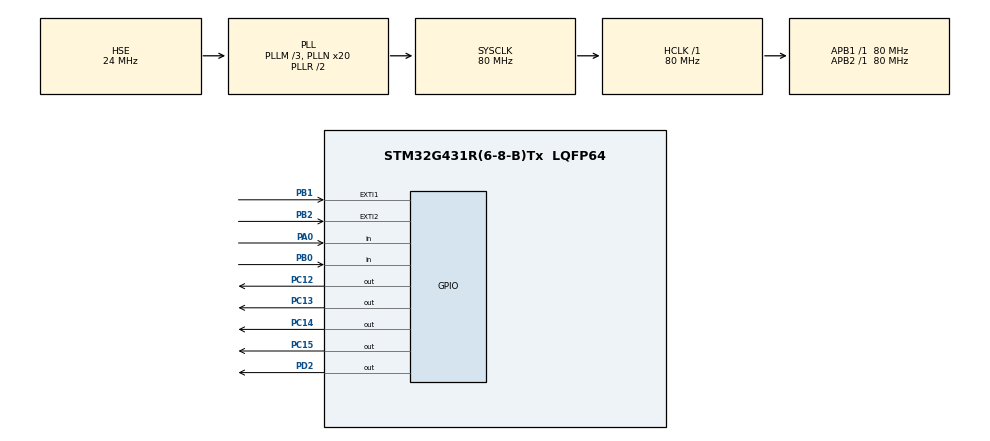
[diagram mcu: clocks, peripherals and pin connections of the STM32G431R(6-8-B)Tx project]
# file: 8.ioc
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Mcu.Family=STM32G4
Mcu.Name=STM32G431R(6-8-B)Tx
Mcu.Package=LQFP64
NVIC.EXTI1_IRQn=true\:0\:0\:false\:false\:true\:true\:true
NVIC.EXTI2_IRQn=true\:0\:0\:false\:false\:true\:true\:true
NVIC.PriorityGroup=NVIC_PRIORITYGROUP_4
PA0.GPIO_PuPd=GPIO_PULLUP
PA0.Signal=GPIO_Input
PA13.Mode=Serial_Wire
PA13.Signal=SYS_JTMS-SWDIO
PA14.Mode=Serial_Wire
PA14.Signal=SYS_JTCK-SWCLK
PB0.GPIO_PuPd=GPIO_PULLUP
PB0.Signal=GPIO_Input
PB1.GPIO_ModeDefaultEXTI=GPIO_MODE_IT_FALLING
PB1.GPIO_PuPd=GPIO_PULLUP
PB1.Signal=GPXTI1
PB2.GPIO_ModeDefaultEXTI=GPIO_MODE_IT_RISING
PB2.GPIO_PuPd=GPIO_PULLUP
PB2.Signal=GPXTI2
PC12.PinState=GPIO_PIN_SET
PC12.Signal=GPIO_Output
PC13.PinState=GPIO_PIN_SET
PC13.Signal=GPIO_Output
PC14-OSC32_IN.PinState=GPIO_PIN_SET
PC14-OSC32_IN.Signal=GPIO_Output
PC15-OSC32_OUT.PinState=GPIO_PIN_SET
PC15-OSC32_OUT.Signal=GPIO_Output
PD2.Signal=GPIO_Output
PF0-OSC_IN.Mode=HSE-External-Oscillator
PF0-OSC_IN.Signal=RCC_OSC_IN
PF1-OSC_OUT.Mode=HSE-External-Oscillator
PF1-OSC_OUT.Signal=RCC_OSC_OUT
ProjectManager.HeapSize=0x200
ProjectManager.StackSize=0x400
ProjectManager.TargetToolchain=MDK-ARM V5
RCC.ADC12Freq_Value=80000000
RCC.AHBFreq_Value=80000000
RCC.APB1Freq_Value=80000000
RCC.APB1TimFreq_Value=80000000
RCC.APB2Freq_Value=80000000
RCC.APB2TimFreq_Value=80000000
RCC.CortexFreq_Value=80000000
RCC.EXTERNAL_CLOCK_VALUE=12288000
RCC.HCLKFreq_Value=80000000
RCC.HSE_VALUE=24000000
RCC.HSI48_VALUE=48000000
RCC.HSI_VALUE=16000000
RCC.LSE_VALUE=32768
RCC.PLLM=RCC_PLLM_DIV3
RCC.PLLN=20
RCC.PLLSourceVirtual=RCC_PLLSOURCE_HSE
RCC.SYSCLKFreq_VALUE=80000000
RCC.SYSCLKSource=RCC_SYSCLKSOURCE_PLLCLK
RCC.USBFreq_Value=80000000
RCC.VCOOutputFreq_Value=160000000
TIM4.PeriodNoDither=10000-1
TIM4.Prescaler=8000-1
VP_SYS_VS_DBSignals.Mode=DisableDeadBatterySignals
VP_TIM4_VS_ClockSourceINT.Mode=Internal
board=custom

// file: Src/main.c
/* USER CODE BEGIN Header */
/**
  ******************************************************************************
  * @file           : main.c
  * @brief          : Main program body
  ******************************************************************************
  * @attention
  *
  * <h2><center>&copy; Copyright (c) 2024 STMicroelectronics.
  * All rights reserved.</center></h2>
  *
  * This software component is licensed by ST under BSD 3-Clause license,
  * the "License"; You may not use this file except in compliance with the
  * License. You may obtain a copy of the License at:
  *                        opensource.org/licenses/BSD-3-Clause
  *
  ******************************************************************************
  */
/* USER CODE END Header */

#include "main.h"
#include "tim.h"
#include "gpio.h"

/* USER CODE BEGIN Includes */
#include "key.h"
#include "lcd.h"
#include "led.h"
/* USER CODE END Includes */

/* USER CODE BEGIN PD */
typedef unsigned int uint;
typedef unsigned char uchar;

/* USER CODE END PD */

/* USER CODE BEGIN PV */
uint signal1=1;		//记录前一次是哪一个按键被按下
uint signal2=1;				//记录此次是哪一个按键被按下
uint plat_flag;			// 0---上行   1---下行
/* USER CODE END PV */

void SystemClock_Config(void);

int main(void)
{

  /* MCU Configuration--------------------------------------------------------*/

  /* Reset of all peripherals, Initializes the Flash interface and the Systick. */
  HAL_Init();

  /* Configure the system clock */
  SystemClock_Config();

  /* Initialize all configured peripherals */
  MX_GPIO_Init();
  MX_TIM4_Init();
  /* USER CODE BEGIN 2 */
	LCD_Init();		//LCD初始化
	HAL_TIM_Base_Start(&htim4);

	LCD_Clear(Black);
	LCD_SetTextColor(Black);
  LCD_SetBackColor(White);

  /* USER CODE END 2 */

  /* Infinite loop */
  while (1)
  {

    /* USER CODE BEGIN 3 */
		Close_Flow_Led();
		Close_Led();
		//Led_Dir(0);
  }
  /* USER CODE END 3 */
}

void SystemClock_Config(void)
{
  RCC_OscInitTypeDef RCC_OscInitStruct = {0};
  RCC_ClkInitTypeDef RCC_ClkInitStruct = {0};

  /** Configure the main internal regulator output voltage
  */
  HAL_PWREx_ControlVoltageScaling(PWR_REGULATOR_VOLTAGE_SCALE1);
  /** Initializes the CPU, AHB and APB busses clocks
  */
  RCC_OscInitStruct.OscillatorType = RCC_OSCILLATORTYPE_HSE;
  RCC_OscInitStruct.HSEState = RCC_HSE_ON;
  RCC_OscInitStruct.PLL.PLLState = RCC_PLL_ON;
  RCC_OscInitStruct.PLL.PLLSource = RCC_PLLSOURCE_HSE;
  RCC_OscInitStruct.PLL.PLLM = RCC_PLLM_DIV3;
  RCC_OscInitStruct.PLL.PLLN = 20;
  RCC_OscInitStruct.PLL.PLLP = RCC_PLLP_DIV2;
  RCC_OscInitStruct.PLL.PLLQ = RCC_PLLQ_DIV2;
  RCC_OscInitStruct.PLL.PLLR = RCC_PLLR_DIV2;
  if (HAL_RCC_OscConfig(&RCC_OscInitStruct) != HAL_OK)
  {
    Error_Handler();
  }
  /** Initializes the CPU, AHB and APB busses clocks
  */
  RCC_ClkInitStruct.ClockType = RCC_CLOCKTYPE_HCLK|RCC_CLOCKTYPE_SYSCLK
                              |RCC_CLOCKTYPE_PCLK1|RCC_CLOCKTYPE_PCLK2;
  RCC_ClkInitStruct.SYSCLKSource = RCC_SYSCLKSOURCE_PLLCLK;
  RCC_ClkInitStruct.AHBCLKDivider = RCC_SYSCLK_DIV1;
  RCC_ClkInitStruct.APB1CLKDivider = RCC_HCLK_DIV1;
  RCC_ClkInitStruct.APB2CLKDivider = RCC_HCLK_DIV1;

  if (HAL_RCC_ClockConfig(&RCC_ClkInitStruct, FLASH_LATENCY_3) != HAL_OK)
  {
    Error_Handler();
  }
}

/* USER CODE BEGIN 4 */
void HAL_GPIO_EXTI_Callback(uint16_t GPIO_Pin)
{

	if(GPIO_Pin==GPIO_PIN_1)
	{

	HAL_GPIO_TogglePin(GPIOC,GPIO_PIN_15);
	}

}
/* USER CODE END 4 */

void Error_Handler(void)
{
}

/************************ (C) COPYRIGHT STMicroelectronics *****END OF FILE****/
